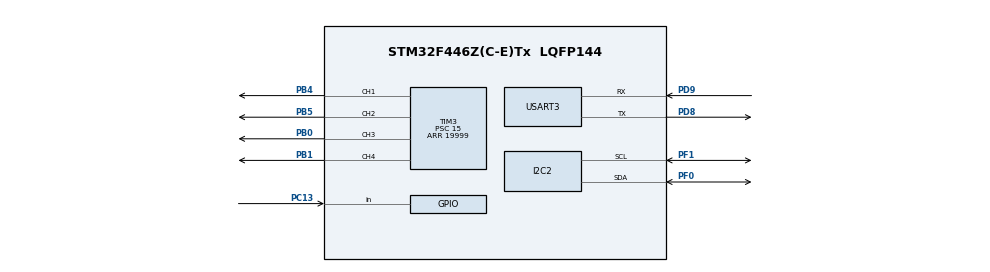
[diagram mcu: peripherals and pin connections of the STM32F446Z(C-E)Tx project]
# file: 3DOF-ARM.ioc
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Mcu.Family=STM32F4
Mcu.Name=STM32F446Z(C-E)Tx
Mcu.Package=LQFP144
NVIC.PriorityGroup=NVIC_PRIORITYGROUP_4
I2C2.I2C_Mode=I2C_Fast
PB0.Signal=S_TIM3_CH3
PB1.Signal=S_TIM3_CH4
PB4.Signal=S_TIM3_CH1
PB5.Signal=S_TIM3_CH2
PC13.Signal=GPIO_Input
PD8.Mode=Asynchronous
PD8.Signal=USART3_TX
PD9.Mode=Asynchronous
PD9.Signal=USART3_RX
PF0.Mode=I2C
PF0.Signal=I2C2_SDA
PF1.Mode=I2C
PF1.Signal=I2C2_SCL
ProjectManager.HeapSize=0x200
ProjectManager.StackSize=0x400
ProjectManager.TargetToolchain=STM32CubeIDE
RCC.CortexFreq_Value=16000000
RCC.USBFreq_Value=96000000
RCC.VCOOutputFreq_Value=192000000
SH.S_TIM3_CH1.0=TIM3_CH1,PWM Generation1 CH1
SH.S_TIM3_CH2.0=TIM3_CH2,PWM Generation2 CH2
SH.S_TIM3_CH3.0=TIM3_CH3,PWM Generation3 CH3
SH.S_TIM3_CH4.0=TIM3_CH4,PWM Generation4 CH4
TIM3.AutoReloadPreload=TIM_AUTORELOAD_PRELOAD_ENABLE
TIM3.Channel-PWM\ Generation1\ CH1=TIM_CHANNEL_1
TIM3.Channel-PWM\ Generation2\ CH2=TIM_CHANNEL_2
TIM3.Channel-PWM\ Generation3\ CH3=TIM_CHANNEL_3
TIM3.Channel-PWM\ Generation4\ CH4=TIM_CHANNEL_4
TIM3.Period=19999
TIM3.Prescaler=15
USART3.VirtualMode=VM_ASYNC
VP_TIM3_VS_ClockSourceINT.Mode=Internal
board=custom

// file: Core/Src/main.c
/* USER CODE BEGIN Header */
/**
  ******************************************************************************
  * @file           : main.c
  * @brief          : Main program body
  ******************************************************************************
  * @attention
  *
  * Copyright (c) 2026 STMicroelectronics.
  * All rights reserved.
  *
  * This software is licensed under terms that can be found in the LICENSE file
  * in the root directory of this software component.
  * If no LICENSE file comes with this software, it is provided AS-IS.
  *
  ******************************************************************************
  */
/* USER CODE END Header */
#include "main.h"

/* USER CODE BEGIN Includes */
#include "oled_status.h"
#include "pwm_control.h"
#include <stdlib.h>

/* USER CODE END Includes */

/* USER CODE BEGIN PD */
#define UART_RX_BUF_SIZE 16U
#define OLED_REFRESH_INTERVAL_MS 100U

/* USER CODE END PD */

I2C_HandleTypeDef hi2c2;
DMA_HandleTypeDef hdma_i2c2_tx;

TIM_HandleTypeDef htim3;

UART_HandleTypeDef huart3;

/* USER CODE BEGIN PV */
static uint8_t rx_byte;
static uint8_t rx_buf[UART_RX_BUF_SIZE];
static uint8_t rx_idx = 0U;
static uint32_t last_ready_tick = 0U;
static uint32_t last_slew_tick = 0U;
static uint32_t last_oled_tick = 0U;
static uint8_t oled_ready = 0U;

/* USER CODE END PV */

void SystemClock_Config(void);
static void MX_GPIO_Init(void);
static void MX_I2C2_Init(void);
static void MX_TIM3_Init(void);
static void MX_USART3_UART_Init(void);
/* USER CODE BEGIN PFP */
static void UpdateServoDisplay(void);

/* USER CODE END PFP */

int main(void)
{

  /* MCU Configuration--------------------------------------------------------*/

  /* Reset of all peripherals, Initializes the Flash interface and the Systick. */
  HAL_Init();

  /* Configure the system clock */
  SystemClock_Config();

  /* Initialize all configured peripherals */
  MX_GPIO_Init();
  MX_I2C2_Init();
  MX_TIM3_Init();
  MX_USART3_UART_Init();
  /* USER CODE BEGIN 2 */
  if ((PWM_Control_Start(&htim3, TIM_CHANNEL_1, PWM_CONTROL_RESET_BASE_ANGLE_DEGREES) != HAL_OK) ||
      (PWM_Control_Start(&htim3, TIM_CHANNEL_2, PWM_CONTROL_RESET_HEIGHT_ANGLE_DEGREES) != HAL_OK) ||
      (PWM_Control_Start(&htim3, TIM_CHANNEL_3, PWM_CONTROL_RESET_DEPTH_ANGLE_DEGREES) != HAL_OK) ||
      (PWM_Control_Start(&htim3, TIM_CHANNEL_4, PWM_CONTROL_RESET_CLAW_ANGLE_DEGREES) != HAL_OK))
  {
    Error_Handler();
  }

  if (OLED_Status_Init() == HAL_OK)
  {
    oled_ready = 1U;
    UpdateServoDisplay();
    last_oled_tick = HAL_GetTick();
  }

  HAL_UART_Transmit(&huart3, (uint8_t *)"READY\n", 6U, 100U);

  /* USER CODE END 2 */

  /* Infinite loop */
  while (1)
  {

    /* USER CODE BEGIN 3 */
    if ((HAL_GetTick() - last_ready_tick) >= 1000U)
    {
      HAL_UART_Transmit(&huart3, (uint8_t *)"READY\n", 6U, 100U);
      last_ready_tick = HAL_GetTick();
    }

    SSD1306_Process();

    if ((HAL_GetTick() - last_slew_tick) >= PWM_CONTROL_SLEW_INTERVAL_MS)
    {
      PWM_Control_SlewUpdate(&htim3);
      last_slew_tick = HAL_GetTick();
    }

    if ((oled_ready != 0U) && ((HAL_GetTick() - last_oled_tick) >= OLED_REFRESH_INTERVAL_MS))
    {
      UpdateServoDisplay();
      last_oled_tick = HAL_GetTick();
    }

    if (__HAL_UART_GET_FLAG(&huart3, UART_FLAG_RXNE) &&
        HAL_UART_Receive(&huart3, &rx_byte, 1U, 1U) == HAL_OK)
    {
      if (rx_byte == '\n')
      {
        uint8_t command_ok = 0U;
        /* Capture the received line length before resetting the buffer index. */
        uint8_t command_length = rx_idx;

        rx_buf[rx_idx] = '\0';
        rx_idx = 0U;

        /* Parse "S<ch>:<angle>", e.g. "S1:90" */
        /* Require a complete line so short inputs cannot reuse stale bytes. */
        if ((command_length >= 4U) && (rx_buf[0] == 'S') && (rx_buf[2] == ':'))
        {
          uint8_t ch = rx_buf[1] - '0';
          uint16_t angle = (uint16_t)atoi((char *)&rx_buf[3]);

          switch (ch)
          {
            case 1: PWM_Control_SetTarget(TIM_CHANNEL_1, angle); command_ok = 1U; break;
            case 2: PWM_Control_SetTarget(TIM_CHANNEL_2, angle); command_ok = 1U; break;
            case 3: PWM_Control_SetTarget(TIM_CHANNEL_3, angle); command_ok = 1U; break;
            case 4: PWM_Control_SetTarget(TIM_CHANNEL_4, angle); command_ok = 1U; break;
            default: break;
          }
        }
        /* Reply once per line so the host never sees both ACK and ERR. */
        HAL_UART_Transmit(&huart3, (uint8_t *)(command_ok ? "ACK\n" : "ERR\n"), 4U, 100U);
      }
      else if (rx_idx < UART_RX_BUF_SIZE - 1U)
      {
        rx_buf[rx_idx++] = rx_byte;
      }
    }
  }
  /* USER CODE END 3 */
}

void SystemClock_Config(void)
{
  RCC_OscInitTypeDef RCC_OscInitStruct = {0};
  RCC_ClkInitTypeDef RCC_ClkInitStruct = {0};

  /** Configure the main internal regulator output voltage
  */
  __HAL_RCC_PWR_CLK_ENABLE();
  __HAL_PWR_VOLTAGESCALING_CONFIG(PWR_REGULATOR_VOLTAGE_SCALE3);

  /** Initializes the RCC Oscillators according to the specified parameters
  * in the RCC_OscInitTypeDef structure.
  */
  RCC_OscInitStruct.OscillatorType = RCC_OSCILLATORTYPE_HSI;
  RCC_OscInitStruct.HSIState = RCC_HSI_ON;
  RCC_OscInitStruct.HSICalibrationValue = RCC_HSICALIBRATION_DEFAULT;
  RCC_OscInitStruct.PLL.PLLState = RCC_PLL_NONE;
  if (HAL_RCC_OscConfig(&RCC_OscInitStruct) != HAL_OK)
  {
    Error_Handler();
  }

  /** Initializes the CPU, AHB and APB buses clocks
  */
  RCC_ClkInitStruct.ClockType = RCC_CLOCKTYPE_HCLK|RCC_CLOCKTYPE_SYSCLK
                              |RCC_CLOCKTYPE_PCLK1|RCC_CLOCKTYPE_PCLK2;
  RCC_ClkInitStruct.SYSCLKSource = RCC_SYSCLKSOURCE_HSI;
  RCC_ClkInitStruct.AHBCLKDivider = RCC_SYSCLK_DIV1;
  RCC_ClkInitStruct.APB1CLKDivider = RCC_HCLK_DIV1;
  RCC_ClkInitStruct.APB2CLKDivider = RCC_HCLK_DIV1;

  if (HAL_RCC_ClockConfig(&RCC_ClkInitStruct, FLASH_LATENCY_0) != HAL_OK)
  {
    Error_Handler();
  }
}

static void MX_I2C2_Init(void)
{

  hi2c2.Instance = I2C2;
  hi2c2.Init.ClockSpeed = 400000;
  hi2c2.Init.DutyCycle = I2C_DUTYCYCLE_2;
  hi2c2.Init.OwnAddress1 = 0;
  hi2c2.Init.AddressingMode = I2C_ADDRESSINGMODE_7BIT;
  hi2c2.Init.DualAddressMode = I2C_DUALADDRESS_DISABLE;
  hi2c2.Init.OwnAddress2 = 0;
  hi2c2.Init.GeneralCallMode = I2C_GENERALCALL_DISABLE;
  hi2c2.Init.NoStretchMode = I2C_NOSTRETCH_DISABLE;
  if (HAL_I2C_Init(&hi2c2) != HAL_OK)
  {
    Error_Handler();
  }
}

static void MX_TIM3_Init(void)
{

  TIM_ClockConfigTypeDef sClockSourceConfig = {0};
  TIM_MasterConfigTypeDef sMasterConfig = {0};
  TIM_OC_InitTypeDef sConfigOC = {0};

  htim3.Instance = TIM3;
  htim3.Init.Prescaler = 15;
  htim3.Init.CounterMode = TIM_COUNTERMODE_UP;
  htim3.Init.Period = 19999;
  htim3.Init.ClockDivision = TIM_CLOCKDIVISION_DIV1;
  htim3.Init.AutoReloadPreload = TIM_AUTORELOAD_PRELOAD_ENABLE;
  if (HAL_TIM_Base_Init(&htim3) != HAL_OK)
  {
    Error_Handler();
  }
  sClockSourceConfig.ClockSource = TIM_CLOCKSOURCE_INTERNAL;
  if (HAL_TIM_ConfigClockSource(&htim3, &sClockSourceConfig) != HAL_OK)
  {
    Error_Handler();
  }
  if (HAL_TIM_PWM_Init(&htim3) != HAL_OK)
  {
    Error_Handler();
  }
  sMasterConfig.MasterOutputTrigger = TIM_TRGO_RESET;
  sMasterConfig.MasterSlaveMode = TIM_MASTERSLAVEMODE_DISABLE;
  if (HAL_TIMEx_MasterConfigSynchronization(&htim3, &sMasterConfig) != HAL_OK)
  {
    Error_Handler();
  }
  sConfigOC.OCMode = TIM_OCMODE_PWM1;
  sConfigOC.Pulse = 0;
  sConfigOC.OCPolarity = TIM_OCPOLARITY_HIGH;
  sConfigOC.OCFastMode = TIM_OCFAST_DISABLE;
  if (HAL_TIM_PWM_ConfigChannel(&htim3, &sConfigOC, TIM_CHANNEL_1) != HAL_OK)
  {
    Error_Handler();
  }
  if (HAL_TIM_PWM_ConfigChannel(&htim3, &sConfigOC, TIM_CHANNEL_2) != HAL_OK)
  {
    Error_Handler();
  }
  if (HAL_TIM_PWM_ConfigChannel(&htim3, &sConfigOC, TIM_CHANNEL_3) != HAL_OK)
  {
    Error_Handler();
  }
  if (HAL_TIM_PWM_ConfigChannel(&htim3, &sConfigOC, TIM_CHANNEL_4) != HAL_OK)
  {
    Error_Handler();
  }
  HAL_TIM_MspPostInit(&htim3);

}

static void MX_USART3_UART_Init(void)
{

  huart3.Instance = USART3;
  huart3.Init.BaudRate = 115200;
  huart3.Init.WordLength = UART_WORDLENGTH_8B;
  huart3.Init.StopBits = UART_STOPBITS_1;
  huart3.Init.Parity = UART_PARITY_NONE;
  huart3.Init.Mode = UART_MODE_TX_RX;
  huart3.Init.HwFlowCtl = UART_HWCONTROL_NONE;
  huart3.Init.OverSampling = UART_OVERSAMPLING_16;
  if (HAL_UART_Init(&huart3) != HAL_OK)
  {
    Error_Handler();
  }

}

static void MX_GPIO_Init(void)
{
  GPIO_InitTypeDef GPIO_InitStruct = {0};

  /* GPIO Ports Clock Enable */
  __HAL_RCC_GPIOC_CLK_ENABLE();
  __HAL_RCC_GPIOB_CLK_ENABLE();
  __HAL_RCC_GPIOD_CLK_ENABLE();

  /*Configure GPIO pin : PC13 */
  GPIO_InitStruct.Pin = GPIO_PIN_13;
  GPIO_InitStruct.Mode = GPIO_MODE_INPUT;
  GPIO_InitStruct.Pull = GPIO_NOPULL;
  HAL_GPIO_Init(GPIOC, &GPIO_InitStruct);

}

/* USER CODE BEGIN 4 */
static void UpdateServoDisplay(void)
{
  uint16_t angles[OLED_STATUS_SERVO_COUNT] = {
    PWM_Control_GetCurrentAngle(TIM_CHANNEL_1),
    PWM_Control_GetCurrentAngle(TIM_CHANNEL_2),
    PWM_Control_GetCurrentAngle(TIM_CHANNEL_3),
    PWM_Control_GetCurrentAngle(TIM_CHANNEL_4)
  };

  if (OLED_Status_ShowAngles(angles) == HAL_ERROR)
  {
    oled_ready = 0U;
  }
}

// static void SetAllServoAngles(uint16_t angle_degrees)
// {
//   if ((PWM_Control_SetAngle(&htim3, TIM_CHANNEL_1, angle_degrees) != HAL_OK) ||
//       (PWM_Control_SetAngle(&htim3, TIM_CHANNEL_2, angle_degrees) != HAL_OK) ||
//       (PWM_Control_SetAngle(&htim3, TIM_CHANNEL_3, angle_degrees) != HAL_OK) ||
//       (PWM_Control_SetAngle(&htim3, TIM_CHANNEL_4, angle_degrees) != HAL_OK))
//   {
//     Error_Handler();
//   }
// }

/* USER CODE END 4 */

void Error_Handler(void)
{
  __disable_irq();
  while (1)
  {
  }
}
